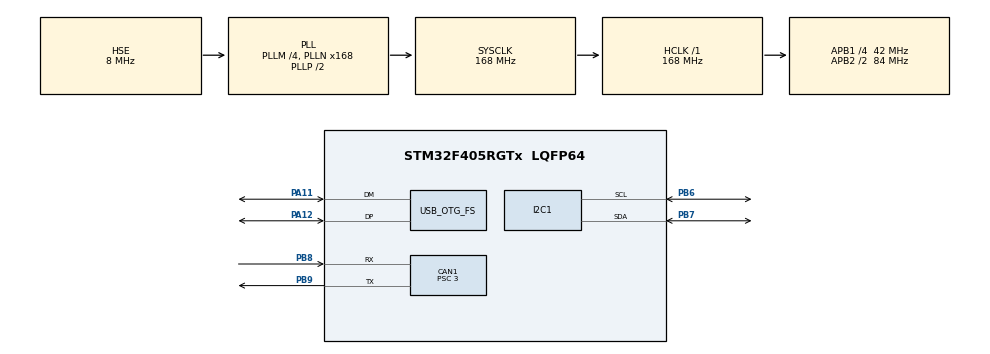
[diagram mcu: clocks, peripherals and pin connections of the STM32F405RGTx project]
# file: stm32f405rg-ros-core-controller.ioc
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CAN1.BS1=CAN_BS1_11TQ
CAN1.BS2=CAN_BS2_2TQ
CAN1.CalculateTimeQuantum=71.42857142857143
CAN1.Prescaler=3
FREERTOS.INCLUDE_eTaskGetState=1
FREERTOS.INCLUDE_vTaskDelayUntil=1
FREERTOS.INCLUDE_xTaskAbortDelay=1
FREERTOS.INCLUDE_xTaskGetHandle=1
FREERTOS.Tasks01=defaultTask,0,256,StartDefaultTask,Default,NULL,Dynamic,NULL,NULL;task1,0,256,StartTask02,Default,NULL,Dynamic,NULL,NULL;task2,0,256,StartTask03,Default,NULL,Dynamic,NULL,NULL;task3,0,256,StartTask04,Default,NULL,Dynamic,NULL,NULL;task4,0,256,StartTask05,Default,NULL,Dynamic,NULL,NULL;task5,0,256,StartTask06,Default,NULL,Dynamic,NULL,NULL
FREERTOS.configGENERATE_RUN_TIME_STATS=1
FREERTOS.configRECORD_STACK_HIGH_ADDRESS=1
FREERTOS.configTOTAL_HEAP_SIZE=15360
FREERTOS.configUSE_STATS_FORMATTING_FUNCTIONS=1
FREERTOS.configUSE_TRACE_FACILITY=1
I2C1.I2C_Mode=I2C_Fast
Mcu.Family=STM32F4
Mcu.Name=STM32F405RGTx
Mcu.Package=LQFP64
NVIC.CAN1_RX0_IRQn=true\:0\:0\:false\:false\:true\:false\:true\:true
NVIC.CAN1_RX1_IRQn=true\:0\:0\:false\:false\:true\:false\:true\:true
NVIC.I2C1_ER_IRQn=true\:0\:0\:false\:false\:true\:false\:true\:true
NVIC.I2C1_EV_IRQn=true\:0\:0\:false\:false\:true\:false\:true\:true
NVIC.OTG_FS_IRQn=true\:0\:0\:false\:false\:true\:false\:true\:true
NVIC.PriorityGroup=NVIC_PRIORITYGROUP_4
NVIC.RCC_IRQn=true\:0\:0\:false\:false\:true\:false\:true\:false
NVIC.TIM3_IRQn=true\:0\:0\:false\:false\:true\:false\:false\:true
NVIC.TimeBase=TIM3_IRQn
NVIC.TimeBaseIP=TIM3
PA11.Mode=Device_Only
PA11.Signal=USB_OTG_FS_DM
PA12.Mode=Device_Only
PA12.Signal=USB_OTG_FS_DP
PA13.Mode=Trace_Asynchronous_SW
PA13.Signal=SYS_JTMS-SWDIO
PA14.Mode=Trace_Asynchronous_SW
PA14.Signal=SYS_JTCK-SWCLK
PB3.Mode=Trace_Asynchronous_SW
PB3.Signal=SYS_JTDO-SWO
PB6.Mode=I2C
PB6.Signal=I2C1_SCL
PB7.Mode=I2C
PB7.Signal=I2C1_SDA
PB8.Mode=Master
PB8.Signal=CAN1_RX
PB9.Mode=Master
PB9.Signal=CAN1_TX
PH0-OSC_IN.Mode=HSE-External-Oscillator
PH0-OSC_IN.Signal=RCC_OSC_IN
PH1-OSC_OUT.Mode=HSE-External-Oscillator
PH1-OSC_OUT.Signal=RCC_OSC_OUT
ProjectManager.HeapSize=0x200
ProjectManager.StackSize=0x400
ProjectManager.TargetToolchain=STM32CubeIDE
RCC.48MHZClocksFreq_Value=48000000
RCC.AHBFreq_Value=168000000
RCC.APB1CLKDivider=RCC_HCLK_DIV4
RCC.APB1Freq_Value=42000000
RCC.APB1TimFreq_Value=84000000
RCC.APB2CLKDivider=RCC_HCLK_DIV2
RCC.APB2Freq_Value=84000000
RCC.APB2TimFreq_Value=168000000
RCC.CortexFreq_Value=168000000
RCC.HCLKFreq_Value=168000000
RCC.HSE_VALUE=8000000
RCC.HSI_VALUE=16000000
RCC.LSE_VALUE=32768
RCC.PLLM=4
RCC.PLLN=168
RCC.PLLQ=7
RCC.SYSCLKFreq_VALUE=168000000
RCC.SYSCLKSource=RCC_SYSCLKSOURCE_PLLCLK
RCC.VCOOutputFreq_Value=336000000
TIM14.Prescaler=168
USB_DEVICE.CLASS_NAME_FS=CDC
USB_DEVICE.VirtualMode-CDC_FS=Cdc
USB_DEVICE.VirtualModeFS=Cdc_FS
USB_OTG_FS.VirtualMode=Device_Only
VP_FREERTOS_VS_CMSIS_V1.Mode=CMSIS_V1
VP_SYS_VS_tim3.Mode=TIM3
VP_TIM14_VS_ClockSourceINT.Mode=Enable_Timer
VP_USB_DEVICE_VS_USB_DEVICE_CDC_FS.Mode=CDC_FS
board=custom

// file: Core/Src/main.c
/* USER CODE BEGIN Header */
/**
  ******************************************************************************
  * @file           : main.c
  * @brief          : Main program body
  ******************************************************************************
  * @attention
  *
  * <h2><center>&copy; Copyright (c) 2020 STMicroelectronics.
  * All rights reserved.</center></h2>
  *
  * This software component is licensed by ST under BSD 3-Clause license,
  * the "License"; You may not use this file except in compliance with the
  * License. You may obtain a copy of the License at:
  *                        opensource.org/licenses/BSD-3-Clause
  *
  ******************************************************************************
  */
/* USER CODE END Header */
#include "main.h"
#include "cmsis_os.h"
#include "usb_device.h"

/* USER CODE BEGIN Includes */
uint8_t usbRxData[APP_RX_DATA_SIZE] ;

//The number should be the same as APP_RX_DATA_SIZE
#include "cpp_main.h"
#include "ringbuffer.h"
#include "mpu9250_usr.h"
#include "delay_micros.h"
/* USER CODE END Includes */

CAN_HandleTypeDef hcan1;

I2C_HandleTypeDef hi2c1;

TIM_HandleTypeDef htim14;

osThreadId defaultTaskHandle;
osThreadId task1Handle;
osThreadId task2Handle;
osThreadId task3Handle;
osThreadId task4Handle;
osThreadId task5Handle;
/* USER CODE BEGIN PV */
CAN_TxHeaderTypeDef right_wheels_Header;
CAN_TxHeaderTypeDef left_wheels_Header;
CAN_FilterTypeDef sFilterConfig;
CAN_RxHeaderTypeDef can_RxHeader;
uint32_t TxMailbox;

uint32_t sensors_data[8];
uint32_t can_res = 0;
uint32_t tick = 0;
uint8_t state_can = 0;
uint32_t leftCount, rightCount;
uint8_t ctrl = 0x00;
int16_t allData[6];

volatile uint32_t sysTick_Time;

int8_t speedDataRightFrontWheel = 0;
int8_t speedDataLeftFrontWheel = 0;
int8_t speedDataRightBackWheel = 0;
int8_t speedDataLeftBackWheel = 0;

int8_t sideDataRightFrontWheel = 0;
int8_t sideDataLeftFrontWheel = 0;
int8_t sideDataRightBackWheel = 0;
int8_t sideDataLeftBackWheel = 0;

uint8_t sensorData1 = 0;
uint8_t sensorData2 = 0;
uint8_t sensorData3 = 0;
uint8_t sensorData4 = 0;
uint8_t sensorData5 = 0;
uint8_t sensorData6 = 0;
uint8_t sensorData7 = 0;
uint8_t sensorData8 = 0;

uint8_t current_right_1 = 0;
uint8_t current_right_2 = 0;
uint8_t current_left_1 = 0;
uint8_t current_left_2 = 0;
uint8_t temp_right = 0;
uint8_t temp_left = 0;

uint8_t diagnostics_data[6] = {0,};

uint8_t speedRXDataRightFrontWheel;
uint8_t sideRXDataRightFrontWheel;
uint8_t speedRXDataRightBackWheel;
uint8_t sideRXDataRightBackWheel;
uint8_t speedRXDataLeftFrontWheel;
uint8_t sideRXDataLeftFrontWheel;
uint8_t speedRXDataLeftBackWheel;
uint8_t sideRXDataLeftBackWheel;

uint8_t canRXData[8];

float gyroX;
float gyroY;
float gyroZ;
float accelX;
float accelY;
float accelZ;
float gyroX_filtered;
float gyroY_filtered;
float gyroZ_filtered;

uint8_t left_wheels_data[4] = {0,0};
uint8_t right_wheels_data[4] = {0,0};

int32_t gyro_bias[3]  = {0, 0, 0}, accel_bias[3] = {0, 0, 0};
int32_t accel_bias_reg[3] = {0, 0, 0};
uint32_t f, laser1, laser2, imu, wheels;
uint32_t can2;
uint8_t nh_connected = 0;
uint8_t cansp = 15;
uint32_t imu_pub_count = 0;
uint32_t imu_get_count = 0;

uint8_t I2Cerr;
/* USER CODE END PV */

void SystemClock_Config(void);
static void MX_GPIO_Init(void);
static void MX_CAN1_Init(void);
static void MX_I2C1_Init(void);
static void MX_TIM14_Init(void);
void StartDefaultTask(void const * argument);
void StartTask02(void const * argument);
void StartTask03(void const * argument);
void StartTask04(void const * argument);
void StartTask05(void const * argument);
void StartTask06(void const * argument);

/* USER CODE BEGIN PFP */
void rpm_left_front_handler(void);
void rpm_left_back_handler(void);
void rpm_right_front_handler(void);
void rpm_right_back_handler(void);

void sensors1_3_data_handler(void);
void sensors4_6_data_handler(void);
void sensors7_8_data_handler(void);

void diagnostics_data_handler(void);

void accel_handler(void);
void gyro_handler(void);

void spinOnce(void);
void init_ROS(void);
/* USER CODE END PFP */

int main(void)
{

  /* MCU Configuration--------------------------------------------------------*/

  /* Reset of all peripherals, Initializes the Flash interface and the Systick. */
  HAL_Init();

  /* Configure the system clock */
  SystemClock_Config();

  /* Initialize all configured peripherals */
  MX_GPIO_Init();
  MX_CAN1_Init();
  MX_I2C1_Init();
  MX_TIM14_Init();
  /* USER CODE BEGIN 2 */
  MPU9250_calibrate();

  HAL_Delay(2000);
  MPU9250_init();
  HAL_Delay(500);
  init_ROS();
  HAL_Delay(500);
  DWT_Init();

  left_wheels_Header.DLC = 4;
  left_wheels_Header.IDE = CAN_ID_STD;
  left_wheels_Header.RTR = CAN_RTR_DATA;
  left_wheels_Header.StdId = 0xF;

  right_wheels_Header.DLC = 4;
  right_wheels_Header.IDE = CAN_ID_STD;
  right_wheels_Header.RTR = CAN_RTR_DATA;
  right_wheels_Header.StdId = 0x1F;

  sFilterConfig.FilterFIFOAssignment = CAN_FILTER_FIFO0;
  sFilterConfig.FilterIdHigh = 0;
  sFilterConfig.FilterIdLow = 0;
  sFilterConfig.FilterMaskIdHigh = 0;
  sFilterConfig.FilterMaskIdLow = 0;
  sFilterConfig.FilterScale = CAN_FILTERSCALE_32BIT;
  //sFilterConfig.FilterMode = CAN_FILTERMODE_IDLIST;
  sFilterConfig.FilterActivation = ENABLE;
  HAL_CAN_ConfigFilter(&hcan1, &sFilterConfig);

  HAL_CAN_Start(&hcan1);
  HAL_CAN_ActivateNotification(&hcan1, CAN_IT_RX_FIFO0_MSG_PENDING);
  /* USER CODE END 2 */

  /* Create the thread(s) */
  /* definition and creation of defaultTask */
  osThreadDef(defaultTask, StartDefaultTask, osPriorityNormal, 0, 256);
  defaultTaskHandle = osThreadCreate(osThread(defaultTask), NULL);

  /* definition and creation of task1 */
  osThreadDef(task1, StartTask02, osPriorityNormal, 0, 256);
  task1Handle = osThreadCreate(osThread(task1), NULL);

  /* definition and creation of task2 */
  osThreadDef(task2, StartTask03, osPriorityNormal, 0, 256);
  task2Handle = osThreadCreate(osThread(task2), NULL);

  /* definition and creation of task3 */
  osThreadDef(task3, StartTask04, osPriorityNormal, 0, 256);
  task3Handle = osThreadCreate(osThread(task3), NULL);

  /* definition and creation of task4 */
  osThreadDef(task4, StartTask05, osPriorityNormal, 0, 256);
  task4Handle = osThreadCreate(osThread(task4), NULL);

  /* definition and creation of task5 */
  osThreadDef(task5, StartTask06, osPriorityNormal, 0, 256);
  task5Handle = osThreadCreate(osThread(task5), NULL);

  /* Start scheduler */
  osKernelStart();
  /* We should never get here as control is now taken by the scheduler */
  /* Infinite loop */
  while (1)
  {

  }
}

void SystemClock_Config(void)
{
  RCC_OscInitTypeDef RCC_OscInitStruct = {0};
  RCC_ClkInitTypeDef RCC_ClkInitStruct = {0};

  /** Configure the main internal regulator output voltage
  */
  __HAL_RCC_PWR_CLK_ENABLE();
  __HAL_PWR_VOLTAGESCALING_CONFIG(PWR_REGULATOR_VOLTAGE_SCALE1);
  /** Initializes the RCC Oscillators according to the specified parameters
  * in the RCC_OscInitTypeDef structure.
  */
  RCC_OscInitStruct.OscillatorType = RCC_OSCILLATORTYPE_HSE;
  RCC_OscInitStruct.HSEState = RCC_HSE_ON;
  RCC_OscInitStruct.PLL.PLLState = RCC_PLL_ON;
  RCC_OscInitStruct.PLL.PLLSource = RCC_PLLSOURCE_HSE;
  RCC_OscInitStruct.PLL.PLLM = 4;
  RCC_OscInitStruct.PLL.PLLN = 168;
  RCC_OscInitStruct.PLL.PLLP = RCC_PLLP_DIV2;
  RCC_OscInitStruct.PLL.PLLQ = 7;
  if (HAL_RCC_OscConfig(&RCC_OscInitStruct) != HAL_OK)
  {
    Error_Handler();
  }
  /** Initializes the CPU, AHB and APB buses clocks
  */
  RCC_ClkInitStruct.ClockType = RCC_CLOCKTYPE_HCLK|RCC_CLOCKTYPE_SYSCLK
                              |RCC_CLOCKTYPE_PCLK1|RCC_CLOCKTYPE_PCLK2;
  RCC_ClkInitStruct.SYSCLKSource = RCC_SYSCLKSOURCE_PLLCLK;
  RCC_ClkInitStruct.AHBCLKDivider = RCC_SYSCLK_DIV1;
  RCC_ClkInitStruct.APB1CLKDivider = RCC_HCLK_DIV4;
  RCC_ClkInitStruct.APB2CLKDivider = RCC_HCLK_DIV2;

  if (HAL_RCC_ClockConfig(&RCC_ClkInitStruct, FLASH_LATENCY_5) != HAL_OK)
  {
    Error_Handler();
  }
}

static void MX_CAN1_Init(void)
{

  hcan1.Instance = CAN1;
  hcan1.Init.Prescaler = 3;
  hcan1.Init.Mode = CAN_MODE_NORMAL;
  hcan1.Init.SyncJumpWidth = CAN_SJW_1TQ;
  hcan1.Init.TimeSeg1 = CAN_BS1_11TQ;
  hcan1.Init.TimeSeg2 = CAN_BS2_2TQ;
  hcan1.Init.TimeTriggeredMode = DISABLE;
  hcan1.Init.AutoBusOff = DISABLE;
  hcan1.Init.AutoWakeUp = DISABLE;
  hcan1.Init.AutoRetransmission = DISABLE;
  hcan1.Init.ReceiveFifoLocked = DISABLE;
  hcan1.Init.TransmitFifoPriority = DISABLE;
  if (HAL_CAN_Init(&hcan1) != HAL_OK)
  {
    Error_Handler();
  }

}

static void MX_I2C1_Init(void)
{

  hi2c1.Instance = I2C1;
  hi2c1.Init.ClockSpeed = 400000;
  hi2c1.Init.DutyCycle = I2C_DUTYCYCLE_2;
  hi2c1.Init.OwnAddress1 = 0;
  hi2c1.Init.AddressingMode = I2C_ADDRESSINGMODE_7BIT;
  hi2c1.Init.DualAddressMode = I2C_DUALADDRESS_DISABLE;
  hi2c1.Init.OwnAddress2 = 0;
  hi2c1.Init.GeneralCallMode = I2C_GENERALCALL_DISABLE;
  hi2c1.Init.NoStretchMode = I2C_NOSTRETCH_DISABLE;
  if (HAL_I2C_Init(&hi2c1) != HAL_OK)
  {
    Error_Handler();
  }

}

static void MX_TIM14_Init(void)
{

  htim14.Instance = TIM14;
  htim14.Init.Prescaler = 168;
  htim14.Init.CounterMode = TIM_COUNTERMODE_UP;
  htim14.Init.Period = 65535;
  htim14.Init.ClockDivision = TIM_CLOCKDIVISION_DIV1;
  htim14.Init.AutoReloadPreload = TIM_AUTORELOAD_PRELOAD_DISABLE;
  if (HAL_TIM_Base_Init(&htim14) != HAL_OK)
  {
    Error_Handler();
  }

}

static void MX_GPIO_Init(void)
{

  /* GPIO Ports Clock Enable */
  __HAL_RCC_GPIOH_CLK_ENABLE();
  __HAL_RCC_GPIOA_CLK_ENABLE();
  __HAL_RCC_GPIOB_CLK_ENABLE();

}

/* USER CODE BEGIN 4 */
void HAL_CAN_RxFifo0MsgPendingCallback(CAN_HandleTypeDef *hcan) {
	can_res++;
	HAL_CAN_GetRxMessage(&hcan1, CAN_RX_FIFO0, &can_RxHeader, canRXData);

	if (can_RxHeader.StdId == 0xA) {
		speedRXDataLeftFrontWheel = canRXData[0];
		sideRXDataLeftFrontWheel = canRXData[1];
		speedRXDataLeftBackWheel = canRXData[2];
		sideRXDataLeftBackWheel = canRXData[3];
		current_left_1 = canRXData[4];
		current_left_2 = canRXData[5];
		temp_left = canRXData[6];
	}
	else if (can_RxHeader.StdId == 0x1A) {
		speedRXDataRightFrontWheel = canRXData[0];
		sideRXDataRightFrontWheel = canRXData[1];
		speedRXDataRightBackWheel = canRXData[2];
		sideRXDataRightBackWheel = canRXData[3];
		current_right_1 = canRXData[4];
		current_right_2 = canRXData[5];
		temp_right = canRXData[6];
	}
	else if (can_RxHeader.StdId == 0x1D) {
		sensorData1 = canRXData[0];
		sensors_data[0]++;
	}
	else if (can_RxHeader.StdId == 0x2D) {
		sensorData2 = canRXData[0];
		sensors_data[1]++;
	}
	else if (can_RxHeader.StdId == 0x3D) {
		sensorData3 = canRXData[0];
		sensors_data[2]++;
	}
	else if (can_RxHeader.StdId == 0x4D) {
		sensorData4 = canRXData[0];
		sensors_data[3]++;
	}
	else if (can_RxHeader.StdId == 0x5D) {
		sensorData5 = canRXData[0];
		sensors_data[4]++;
	}
	else if (can_RxHeader.StdId == 0x6D) {
		sensorData6 = canRXData[0];
		sensors_data[5]++;
	}
	else if (can_RxHeader.StdId == 0x7D) {
		sensorData7 = canRXData[0];
		sensors_data[6]++;
	}
	else if (can_RxHeader.StdId == 0x8D) {
		sensorData8 = canRXData[0];
		sensors_data[7]++;
	}
	diagnostics_data[0] = current_left_1;
	diagnostics_data[1] = current_left_2;
	diagnostics_data[2] = current_right_1;
	diagnostics_data[3] = current_right_2;
	diagnostics_data[4] = temp_left;
	diagnostics_data[5] = temp_right;
	can_RxHeader.StdId = 0x0000;
}
/* USER CODE END 4 */

void StartDefaultTask(void const * argument)
{
  /* init code for USB_DEVICE */
  MX_USB_DEVICE_Init();
  /* USER CODE BEGIN 5 */
  TickType_t xLastWakeTime;
  const TickType_t xFrequency = 2;
  xLastWakeTime = xTaskGetTickCount();
  /* Infinite loop */
  for(;;)
  {
      vTaskDelayUntil( &xLastWakeTime, xFrequency );
	  gyro_handler();
	  delay_us(100);
	  //osDelay(1);
	  accel_handler();
	  delay_us(100);
	  osDelay(1);
	  imu_pub_count++;
  }
  /* USER CODE END 5 */
}

void StartTask02(void const * argument)
{
  /* USER CODE BEGIN StartTask02 */
  TickType_t xLastWakeTime;
  const TickType_t xFrequency = 2;
  xLastWakeTime = xTaskGetTickCount();
  I2C1->CR2 |= 0x1U << 8;
  /* Infinite loop */
  for(;;)
  {
      vTaskDelayUntil( &xLastWakeTime, xFrequency );
	  MPU9250_getAllData(allData);
	  imu_get_count++;
	  osDelay(1);
  }
  /* USER CODE END StartTask02 */
}

void StartTask03(void const * argument)
{
  /* USER CODE BEGIN StartTask03 */
  TickType_t xLastWakeTime;
  const TickType_t xFrequency = 10;
  xLastWakeTime = xTaskGetTickCount();
  /* Infinite loop */
  for(;;)
  {
      vTaskDelayUntil( &xLastWakeTime, xFrequency );
	  left_wheels_data[0] = sideDataLeftFrontWheel;
	  left_wheels_data[1] = speedDataLeftFrontWheel;
	  left_wheels_data[2] = sideDataLeftBackWheel;
	  left_wheels_data[3] = speedDataLeftBackWheel;
	  right_wheels_data[0] = sideDataRightFrontWheel;
	  right_wheels_data[1] = speedDataRightFrontWheel;
	  right_wheels_data[2] = sideDataRightBackWheel;
	  right_wheels_data[3] = speedDataRightBackWheel;
	  if( HAL_CAN_AddTxMessage(&hcan1, &left_wheels_Header, left_wheels_data, &TxMailbox) == HAL_OK) {
		  can2++;
	  }
	  delay_us(100);
	  //osDelay(1);
	  HAL_CAN_AddTxMessage(&hcan1, &right_wheels_Header, right_wheels_data, &TxMailbox);
	  delay_us(100);
	  //osDelay(1);
  }
  /* USER CODE END StartTask03 */
}

void StartTask04(void const * argument)
{
  /* USER CODE BEGIN StartTask04 */
  TickType_t xLastWakeTime;
  const TickType_t xFrequency = 20;
  xLastWakeTime = xTaskGetTickCount();
  /* Infinite loop */
  for(;;)
  {
	  //diagnostics_data_handler();
      vTaskDelayUntil( &xLastWakeTime, xFrequency );
	  sensors1_3_data_handler();
	  delay_us(100);
	  //osDelay(4);
	  sensors4_6_data_handler();
	  delay_us(100);
	  //osDelay(4);
	  //sensors7_8_data_handler();
	  //osDelay(4);
  }
  /* USER CODE END StartTask04 */
}

void StartTask05(void const * argument)
{
  /* USER CODE BEGIN StartTask05 */
  /* Infinite loop */
  for(;;)
  {
	  spinOnce();
	  osDelay(10);
	  //vTaskDelayUntil(pxPreviousWakeTime, xTimeIncrement)
  }
  /* USER CODE END StartTask05 */
}

void StartTask06(void const * argument)
{
  /* USER CODE BEGIN StartTask06 */
  TickType_t xLastWakeTime;
  const TickType_t xFrequency = 20;
  xLastWakeTime = xTaskGetTickCount();
  /* Infinite loop */
  for(;;)
  {
	  vTaskDelayUntil( &xLastWakeTime, xFrequency );
	  rpm_left_front_handler();
	  delay_us(100);
	  //osDelay(1);
	  rpm_left_back_handler();
	  delay_us(100);
	  //osDelay(1);
	  rpm_right_front_handler();
	  delay_us(100);
	  //osDelay(1);
	  rpm_right_back_handler();
	  delay_us(100);
	  //osDelay(1);
  }
  /* USER CODE END StartTask06 */
}

void HAL_TIM_PeriodElapsedCallback(TIM_HandleTypeDef *htim)
{
  /* USER CODE BEGIN Callback 0 */
  ++tick;
  /* USER CODE END Callback 0 */
  if (htim->Instance == TIM3) {
    HAL_IncTick();
  }
}

void Error_Handler(void)
{
}

/************************ (C) COPYRIGHT STMicroelectronics *****END OF FILE****/

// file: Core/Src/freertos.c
/* USER CODE BEGIN Header */
/**
  ******************************************************************************
  * File Name          : freertos.c
  * Description        : Code for freertos applications
  ******************************************************************************
  * @attention
  *
  * <h2><center>&copy; Copyright (c) 2020 STMicroelectronics.
  * All rights reserved.</center></h2>
  *
  * This software component is licensed by ST under Ultimate Liberty license
  * SLA0044, the "License"; You may not use this file except in compliance with
  * the License. You may obtain a copy of the License at:
  *                             www.st.com/SLA0044
  *
  ******************************************************************************
  */
/* USER CODE END Header */

#include "FreeRTOS.h"
#include "task.h"
#include "main.h"

/* USER CODE BEGIN Variables */
extern TIM_HandleTypeDef htim14;
/* USER CODE END Variables */

/* GetIdleTaskMemory prototype (linked to static allocation support) */
void vApplicationGetIdleTaskMemory( StaticTask_t **ppxIdleTaskTCBBuffer, StackType_t **ppxIdleTaskStackBuffer, uint32_t *pulIdleTaskStackSize );

/* Hook prototypes */
void configureTimerForRunTimeStats(void);
unsigned long getRunTimeCounterValue(void);

/* USER CODE BEGIN 1 */
/* Functions needed when configGENERATE_RUN_TIME_STATS is on */
__weak void configureTimerForRunTimeStats(void)
{
	HAL_TIM_Base_Start(&htim14);
}

__weak unsigned long getRunTimeCounterValue(void)
{
	static unsigned long counter = 0;

	counter += __HAL_TIM_GET_COUNTER(&htim14);
	__HAL_TIM_SET_COUNTER(&htim14, 0);

	return counter;
}
/* USER CODE END 1 */

/* USER CODE BEGIN GET_IDLE_TASK_MEMORY */
static StaticTask_t xIdleTaskTCBBuffer;
static StackType_t xIdleStack[configMINIMAL_STACK_SIZE];

void vApplicationGetIdleTaskMemory( StaticTask_t **ppxIdleTaskTCBBuffer, StackType_t **ppxIdleTaskStackBuffer, uint32_t *pulIdleTaskStackSize )
{
  *ppxIdleTaskTCBBuffer = &xIdleTaskTCBBuffer;
  *ppxIdleTaskStackBuffer = &xIdleStack[0];
  *pulIdleTaskStackSize = configMINIMAL_STACK_SIZE;
  /* place for user code */
}
/* USER CODE END GET_IDLE_TASK_MEMORY */

/************************ (C) COPYRIGHT STMicroelectronics *****END OF FILE****/
